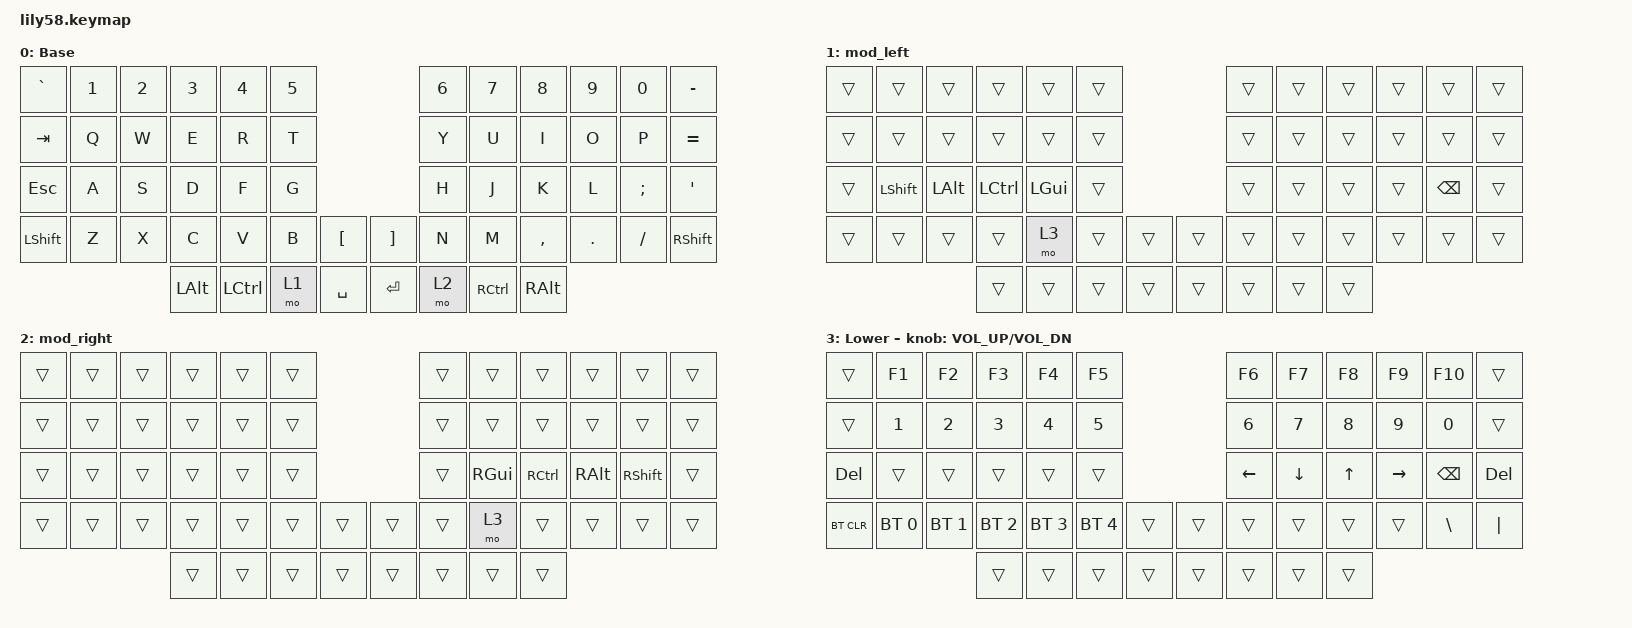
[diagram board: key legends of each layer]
/*
 * Copyright (c) 2020 The ZMK Contributors
 *
 * SPDX-License-Identifier: MIT
 */

#include <behaviors.dtsi>
#include <dt-bindings/zmk/bt.h>
#include <dt-bindings/zmk/keys.h>
#include "keys_de.h"

&mt {
    tapping-term-ms = <280>;
    flavor = "tap-preferred";
    require-prior-idle-ms = <150>;
};

/ {
    behaviors {
        hml: hml {
            compatible = "zmk,behavior-hold-tap";
            label = "HML";
            bindings = <&kp>, <&kp>;

            #binding-cells = <2>;
            hold-trigger-key-positions = <13 14 15 16>;
            tapping-term-ms = <280>;
            quick-tap-ms = <175>;
            require-prior-idle-ms = <150>;
            hold-trigger-on-release;
            flavor = "tap-preferred";
        };

        hmr: hmr {
            compatible = "zmk,behavior-hold-tap";
            label = "HMR";
            bindings = <&kp>, <&kp>;

            #binding-cells = <2>;
            hold-trigger-key-positions = <19 20 21 22>;
            hold-trigger-on-release;
            tapping-term-ms = <280>;
            quick-tap-ms = <175>;
            require-prior-idle-ms = <150>;
            flavor = "tap-preferred";
        };

        tml: tml {
            compatible = "zmk,behavior-hold-tap";
            label = "TML";
            bindings = <&mo>, <&kp>;

            #binding-cells = <2>;
            hold-trigger-on-release;
            tapping-term-ms = <280>;
            quick-tap-ms = <175>;
            require-prior-idle-ms = <150>;
            flavor = "tap-preferred";
            hold-trigger-key-positions = <53>;
        };

        tmr: tmr {
            compatible = "zmk,behavior-hold-tap";
            label = "TMR";
            bindings = <&mo>, <&kp>;

            #binding-cells = <2>;
            hold-trigger-on-release;
            tapping-term-ms = <280>;
            quick-tap-ms = <175>;
            require-prior-idle-ms = <150>;
            flavor = "tap-preferred";
            hold-trigger-key-positions = <54>;
        };
    };

    combos {
        compatible = "zmk,combos";

        combo_super_left {
            bindings = <&kp LEFT_GUI>;
            key-positions = <28 53>;
        };

        combo_super_right {
            bindings = <&kp LEFT_GUI>;
            key-positions = <31 54>;
        };

        combo_ctrl_left {
            bindings = <&kp RIGHT_CONTROL>;
            key-positions = <27 53>;
        };

        combo_alt_left {
            bindings = <&kp LEFT_ALT>;
            key-positions = <26 53>;
        };

        combo_ctrl_right {
            bindings = <&kp RIGHT_CONTROL>;
            key-positions = <32 54>;
        };

        combo_alt_right {
            bindings = <&kp RIGHT_ALT>;
            key-positions = <33 54>;
        };

        combo_shift_right {
            bindings = <&kp RIGHT_SHIFT>;
            key-positions = <54 34>;
        };

        combo_shift_left {
            bindings = <&kp LEFT_SHIFT>;
            key-positions = <53 25>;
        };
    };

    macros {
        macro_left_gui_l0: macro_gui_l0 {
            compatible = "zmk,behavior-macro";
            #binding-cells = <0>;
            bindings = <&kp LGUI &mo 0>, <&macro_press>;

            label = "MACRO_GUI_L0";
        };

        macro_right_gui_l0: macro_right_gui_l0 {
            compatible = "zmk,behavior-macro";
            #binding-cells = <0>;
            bindings = <&kp RGUI &mo 0>, <&macro_press>;

            label = "MACRO_RIGHT_GUI_L0";
        };
    };

    keymap {
        compatible = "zmk,keymap";

        default_layer {
            // ------------------------------------------------------------------------------------------------------------
            // |  ESC  |  1  |  2  |  3   |  4   |  5   |                   |  6   |  7    |  8    |  9   |   0   |   `   |
            // |  TAB  |  Q  |  W  |  E   |  R   |  T   |                   |  Y   |  U    |  I    |  O   |   P   |   -   |
            // |  CTRL |  A  |  S  |  D   |  F   |  G   |                   |  H   |  J    |  K    |  L   |   ;   |   '   |
            // | SHIFT |  Z  |  X  |  C   |  V   |  B   |   "["  |  |  "]"  |  N   |  M    |  ,    |  .   |   /   | SHIFT |
            //                     | ALT  | GUI  | LOWER|  SPACE |  | ENTER | RAISE| BSPC  | GUI   |

            display-name = "Base";
            bindings = <
&kp GRAVE   &kp N1  &kp N2  &kp N3    &kp N4            &kp N5                          &kp N6  &kp N7             &kp N8         &kp N9   &kp N0    &kp MINUS
&kp TAB     &kp Q   &kp W   &kp E     &kp R             &kp T                           &kp Y   &kp U              &kp I          &kp O    &kp P     &kp EQUAL
&kp ESCAPE  &kp A   &kp S   &kp D     &kp F             &kp G                           &kp H   &kp J              &kp K          &kp L    &kp SEMI  &kp SQT
&kp LSHFT   &kp Z   &kp X   &kp C     &kp V             &kp B   &kp LBKT     &kp RBKT   &kp N   &kp M              &kp COMMA      &kp DOT  &kp FSLH  &kp RSHFT
                            &kp LALT  &kp LEFT_CONTROL  &mo 1   &kp SPACE    &kp ENTER  &mo 2   &kp RIGHT_CONTROL  &kp RIGHT_ALT
            >;
        };

        mod_left {
            bindings = <
&trans  &trans     &trans    &trans     &trans        &trans                    &trans  &trans  &trans  &trans  &trans         &trans
&trans  &trans     &trans    &trans     &trans        &trans                    &trans  &trans  &trans  &trans  &trans         &trans
&trans  &kp LSHFT  &kp LALT  &kp LCTRL  &kp LEFT_GUI  &trans                    &trans  &trans  &trans  &trans  &kp BACKSPACE  &trans
&trans  &trans     &trans    &trans     &mo 3         &trans  &trans    &trans  &trans  &trans  &trans  &trans  &trans         &trans
                             &trans     &trans        &trans  &trans    &trans  &trans  &trans  &trans
            >;
        };

        mod_right {
            bindings = <
&trans  &trans  &trans  &trans  &trans  &trans                    &trans  &trans         &trans             &trans         &trans           &trans
&trans  &trans  &trans  &trans  &trans  &trans                    &trans  &trans         &trans             &trans         &trans           &trans
&trans  &trans  &trans  &trans  &trans  &trans                    &trans  &kp RIGHT_GUI  &kp RIGHT_CONTROL  &kp RIGHT_ALT  &kp RIGHT_SHIFT  &trans
&trans  &trans  &trans  &trans  &trans  &trans  &trans    &trans  &trans  &mo 3          &trans             &trans         &trans           &trans
                        &trans  &trans  &trans  &trans    &trans  &trans  &trans         &trans
            >;
        };

        lower_layer {
            // ------------------------------------------------------------------------------------------------------------
            // | BTCLR | BT1 | BT2 |  BT3 |  BT4 |  BT5 |                   |      |       |       |      |       |       |
            // |  F1   |  F2 |  F3 |  F4  |  F5  |  F6  |                   |  F7  |  F8   |  F9   |  F10 |  F11  |  F12  |
            // |   `   |  !  |  @  |  #   |  $   |  %   |                   |  ^   |  &    |  *    |  (   |   )   |   ~   |
            // |       |     |     |      |      |      |        |  |       |      |  _    |  +    |  {   |   }   |  "|"  |
            //                     |      |      |      |        |  |       |      |       |       |

            display-name = "Lower";
            bindings = <
&trans      &kp F1        &kp F2        &kp F3        &kp F4        &kp F5                          &kp F6        &kp F7        &kp F8        &kp F9        &kp F10        &trans
&trans      &kp NUMBER_1  &kp NUMBER_2  &kp NUMBER_3  &kp NUMBER_4  &kp NUMBER_5                    &kp NUMBER_6  &kp NUMBER_7  &kp NUMBER_8  &kp NUMBER_9  &kp NUMBER_0   &trans
&kp DELETE  &trans        &trans        &trans        &trans        &trans                          &kp LEFT      &kp DOWN      &kp UP        &kp RIGHT     &kp BACKSPACE  &kp DELETE
&bt BT_CLR  &bt BT_SEL 0  &bt BT_SEL 1  &bt BT_SEL 2  &bt BT_SEL 3  &bt BT_SEL 4  &trans    &trans  &trans        &trans        &trans        &trans        &kp BACKSLASH  &kp PIPE
                                        &trans        &trans        &trans        &trans    &trans  &trans        &trans        &trans
            >;

            sensor-bindings = <&inc_dec_kp C_VOL_UP C_VOL_DN>;
        };
    };
};
